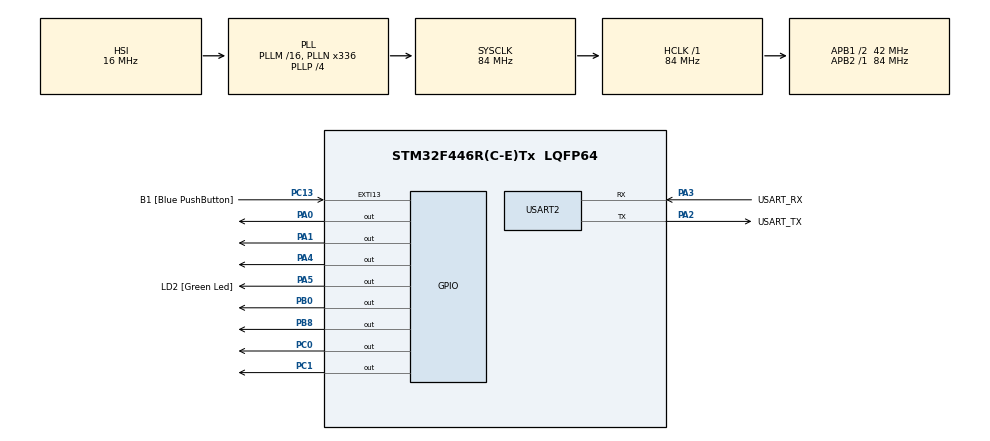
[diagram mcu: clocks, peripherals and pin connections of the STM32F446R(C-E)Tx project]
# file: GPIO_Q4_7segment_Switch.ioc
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Mcu.Family=STM32F4
Mcu.Name=STM32F446R(C-E)Tx
Mcu.Package=LQFP64
NVIC.PriorityGroup=NVIC_PRIORITYGROUP_0
PA0-WKUP.Signal=GPIO_Output
PA1.Signal=GPIO_Output
PA13.GPIO_Label=TMS
PA13.Mode=Serial_Wire
PA13.Signal=SYS_JTMS-SWDIO
PA14.GPIO_Label=TCK
PA14.Mode=Serial_Wire
PA14.Signal=SYS_JTCK-SWCLK
PA2.GPIO_Label=USART_TX
PA2.Mode=Asynchronous
PA2.Signal=USART2_TX
PA3.GPIO_Label=USART_RX
PA3.Mode=Asynchronous
PA3.Signal=USART2_RX
PA4.Signal=GPIO_Output
PA5.GPIO_Label=LD2 [Green Led]
PA5.Signal=GPIO_Output
PB0.Signal=GPIO_Output
PB3.GPIO_Label=SWO
PB3.Signal=SYS_JTDO-SWO
PB8.Signal=GPIO_Output
PC0.Signal=GPIO_Output
PC1.Signal=GPIO_Output
PC13.GPIO_Label=B1 [Blue PushButton]
PC13.GPIO_ModeDefaultEXTI=GPIO_MODE_IT_FALLING
PC13.Signal=GPXTI13
PC14-OSC32_IN.Mode=LSE-External-Oscillator
PC14-OSC32_IN.Signal=RCC_OSC32_IN
PC15-OSC32_OUT.Mode=LSE-External-Oscillator
PC15-OSC32_OUT.Signal=RCC_OSC32_OUT
PH0-OSC_IN.Mode=HSE-External-Oscillator
PH0-OSC_IN.Signal=RCC_OSC_IN
PH1-OSC_OUT.Mode=HSE-External-Oscillator
PH1-OSC_OUT.Signal=RCC_OSC_OUT
ProjectManager.HeapSize=0x200
ProjectManager.StackSize=0x400
ProjectManager.TargetToolchain=STM32CubeIDE
RCC.48MHZClocksFreq_Value=84000000
RCC.AHBFreq_Value=84000000
RCC.APB1CLKDivider=RCC_HCLK_DIV2
RCC.APB1Freq_Value=42000000
RCC.APB1TimFreq_Value=84000000
RCC.APB2Freq_Value=84000000
RCC.APB2TimFreq_Value=84000000
RCC.CortexFreq_Value=84000000
RCC.FLatency-AdvancedSettings=FLASH_LATENCY_2
RCC.HCLKFreq_Value=84000000
RCC.HSE_VALUE=8000000
RCC.HSI_VALUE=16000000
RCC.PLLN=336
RCC.PLLP=RCC_PLLP_DIV4
RCC.SYSCLKFreq_VALUE=84000000
RCC.SYSCLKSource=RCC_SYSCLKSOURCE_PLLCLK
RCC.USBFreq_Value=168000000
RCC.VCOOutputFreq_Value=336000000
USART2.VirtualMode=VM_ASYNC
board=NUCLEO-F446RE

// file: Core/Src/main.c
/*
 * Application : Diplay from 0 to 9 in 7 segment Display through internal switch
 * Step 1:Press switch 1st time and the display should show 0 to 9
 * Step 2:Press switch 2nd time and the display should show 9 to 0
 * Step 3: If the Switch is not pressed then it should not show anything
 * Author : Deepak
 * Date : 15/04/23

 */
/* USER CODE END Header */
#include "main.h"

/* USER CODE BEGIN Includes */
void display0(){
	          HAL_GPIO_WritePin(GPIOA,GPIO_PIN_0,0);
	          HAL_GPIO_WritePin(GPIOA,GPIO_PIN_1,0);
			  HAL_GPIO_WritePin(GPIOA,GPIO_PIN_4,0);
			  HAL_GPIO_WritePin(GPIOB,GPIO_PIN_0,0);
			  HAL_GPIO_WritePin(GPIOC,GPIO_PIN_0,0);
			  HAL_GPIO_WritePin(GPIOC,GPIO_PIN_1,0);
	HAL_GPIO_WritePin(GPIOB,GPIO_PIN_8,1);
}

void display1(){

      HAL_GPIO_WritePin(GPIOA,GPIO_PIN_1,0);
	  HAL_GPIO_WritePin(GPIOA,GPIO_PIN_4,0);

	HAL_GPIO_WritePin(GPIOA,GPIO_PIN_0,1);
	HAL_GPIO_WritePin(GPIOC,GPIO_PIN_0,1);
	HAL_GPIO_WritePin(GPIOB,GPIO_PIN_8,1);
	HAL_GPIO_WritePin(GPIOC,GPIO_PIN_1,1);
	HAL_GPIO_WritePin(GPIOB,GPIO_PIN_0,1);
}

void display2(){
    HAL_GPIO_WritePin(GPIOA,GPIO_PIN_0,0);
    HAL_GPIO_WritePin(GPIOA,GPIO_PIN_1,0);
	  HAL_GPIO_WritePin(GPIOB,GPIO_PIN_0,0);
	  HAL_GPIO_WritePin(GPIOB,GPIO_PIN_8,0);
	  HAL_GPIO_WritePin(GPIOC,GPIO_PIN_1,0);

	HAL_GPIO_WritePin(GPIOC,GPIO_PIN_0,1);
	HAL_GPIO_WritePin(GPIOA,GPIO_PIN_4,1);
}

void display3(){
    HAL_GPIO_WritePin(GPIOA,GPIO_PIN_0,0);
    HAL_GPIO_WritePin(GPIOA,GPIO_PIN_1,0);
	  HAL_GPIO_WritePin(GPIOA,GPIO_PIN_4,0);
	  HAL_GPIO_WritePin(GPIOB,GPIO_PIN_0,0);
	  HAL_GPIO_WritePin(GPIOB,GPIO_PIN_8,0);

	HAL_GPIO_WritePin(GPIOC,GPIO_PIN_0,1);
	HAL_GPIO_WritePin(GPIOC,GPIO_PIN_1,1);
}

void display4(){

      HAL_GPIO_WritePin(GPIOA,GPIO_PIN_1,0);
	  HAL_GPIO_WritePin(GPIOA,GPIO_PIN_4,0);
	  HAL_GPIO_WritePin(GPIOB,GPIO_PIN_8,0);
	  HAL_GPIO_WritePin(GPIOC,GPIO_PIN_0,0);

	 HAL_GPIO_WritePin(GPIOA,GPIO_PIN_0,1);
	 HAL_GPIO_WritePin(GPIOC,GPIO_PIN_1,1);
	 HAL_GPIO_WritePin(GPIOB,GPIO_PIN_0,1);
}

void display5(){
    HAL_GPIO_WritePin(GPIOA,GPIO_PIN_0,0);
	  HAL_GPIO_WritePin(GPIOA,GPIO_PIN_4,0);
	  HAL_GPIO_WritePin(GPIOB,GPIO_PIN_0,0);
	  HAL_GPIO_WritePin(GPIOB,GPIO_PIN_8,0);
	  HAL_GPIO_WritePin(GPIOC,GPIO_PIN_0,0);

	HAL_GPIO_WritePin(GPIOA,GPIO_PIN_1,1);
	HAL_GPIO_WritePin(GPIOC,GPIO_PIN_1,1);
}

void display6(){
    HAL_GPIO_WritePin(GPIOA,GPIO_PIN_0,0);
	  HAL_GPIO_WritePin(GPIOA,GPIO_PIN_4,0);
	  HAL_GPIO_WritePin(GPIOB,GPIO_PIN_0,0);
	  HAL_GPIO_WritePin(GPIOB,GPIO_PIN_8,0);
	  HAL_GPIO_WritePin(GPIOC,GPIO_PIN_0,0);
	  HAL_GPIO_WritePin(GPIOC,GPIO_PIN_1,0);

	HAL_GPIO_WritePin(GPIOA,GPIO_PIN_1,1);
}

void display7(){
    HAL_GPIO_WritePin(GPIOA,GPIO_PIN_0,0);
    HAL_GPIO_WritePin(GPIOA,GPIO_PIN_1,0);
	  HAL_GPIO_WritePin(GPIOA,GPIO_PIN_4,0);

	HAL_GPIO_WritePin(GPIOC,GPIO_PIN_0,1);
	HAL_GPIO_WritePin(GPIOB,GPIO_PIN_8,1);
	HAL_GPIO_WritePin(GPIOC,GPIO_PIN_1,1);
	HAL_GPIO_WritePin(GPIOB,GPIO_PIN_0,1);
}

void display8(){
    HAL_GPIO_WritePin(GPIOA,GPIO_PIN_0,0);
    HAL_GPIO_WritePin(GPIOA,GPIO_PIN_1,0);
	  HAL_GPIO_WritePin(GPIOA,GPIO_PIN_4,0);
	  HAL_GPIO_WritePin(GPIOB,GPIO_PIN_0,0);
	  HAL_GPIO_WritePin(GPIOB,GPIO_PIN_8,0);
	  HAL_GPIO_WritePin(GPIOC,GPIO_PIN_0,0);
	  HAL_GPIO_WritePin(GPIOC,GPIO_PIN_1,0);

}

void display9(){
      HAL_GPIO_WritePin(GPIOA,GPIO_PIN_0,0);
      HAL_GPIO_WritePin(GPIOA,GPIO_PIN_1,0);
	  HAL_GPIO_WritePin(GPIOA,GPIO_PIN_4,0);
	  HAL_GPIO_WritePin(GPIOB,GPIO_PIN_8,0);
	  HAL_GPIO_WritePin(GPIOC,GPIO_PIN_0,0);

	HAL_GPIO_WritePin(GPIOC,GPIO_PIN_1,1);
	HAL_GPIO_WritePin(GPIOB,GPIO_PIN_0,1);

}

void display_init(){
	      HAL_GPIO_WritePin(GPIOA,GPIO_PIN_0,1);
		  HAL_GPIO_WritePin(GPIOA,GPIO_PIN_4,1);
		  HAL_GPIO_WritePin(GPIOB,GPIO_PIN_0,1);
		  HAL_GPIO_WritePin(GPIOB,GPIO_PIN_8,1);
		  HAL_GPIO_WritePin(GPIOC,GPIO_PIN_0,1);
		  HAL_GPIO_WritePin(GPIOC,GPIO_PIN_1,1);
          HAL_GPIO_WritePin(GPIOA,GPIO_PIN_1,1);
}

/* USER CODE END Includes */

UART_HandleTypeDef huart2;

void SystemClock_Config(void);
static void MX_GPIO_Init(void);
static void MX_USART2_UART_Init(void);

int main(void)
{

  /* MCU Configuration--------------------------------------------------------*/

  /* Reset of all peripherals, Initializes the Flash interface and the Systick. */
  HAL_Init();

  /* Configure the system clock */
  SystemClock_Config();

  /* Initialize all configured peripherals */
  MX_GPIO_Init();
  MX_USART2_UART_Init();

  /* Infinite loop */
  /* USER CODE BEGIN WHILE */
  while (1)
  {
	  static int count=0;
		if((HAL_GPIO_ReadPin(GPIOC,GPIO_PIN_13))==0){
			count++;

			if(count==1){
	      display0();
	  	  HAL_Delay(1000);
	  	  display1();
	  	  HAL_Delay(1000);
	  	  display2();
	  	  HAL_Delay(1000);
	  	  display3();
	  	  HAL_Delay(1000);
	  	  display4();
	  	  HAL_Delay(1000);
	  	  display5();
	  	  HAL_Delay(1000);
	  	  display6();
	  	  HAL_Delay(1000);
	  	  display7();
	  	  HAL_Delay(1000);
	  	  display8();
	  	  HAL_Delay(1000);
	  	  display9();
	  	  HAL_Delay(1000);
		 }

	          if(count==2){
		      display9();
		  	  HAL_Delay(1000);
		  	  display8();
		  	  HAL_Delay(1000);
		  	  display7();
		  	  HAL_Delay(1000);
		  	  display6();
		  	  HAL_Delay(1000);
		  	  display5();
		  	  HAL_Delay(1000);
		  	  display4();
		  	  HAL_Delay(1000);
		  	  display3();
		  	  HAL_Delay(1000);
		  	  display2();
		  	  HAL_Delay(1000);
		  	  display1();
		  	  HAL_Delay(1000);
		  	  display0();
		  	  HAL_Delay(1000);
			 }

	  }
		else display_init();

    /* USER CODE END WHILE */

  }
}

void SystemClock_Config(void)
{
  RCC_OscInitTypeDef RCC_OscInitStruct = {0};
  RCC_ClkInitTypeDef RCC_ClkInitStruct = {0};

  /** Configure the main internal regulator output voltage
  */
  __HAL_RCC_PWR_CLK_ENABLE();
  __HAL_PWR_VOLTAGESCALING_CONFIG(PWR_REGULATOR_VOLTAGE_SCALE3);

  /** Initializes the RCC Oscillators according to the specified parameters
  * in the RCC_OscInitTypeDef structure.
  */
  RCC_OscInitStruct.OscillatorType = RCC_OSCILLATORTYPE_HSI;
  RCC_OscInitStruct.HSIState = RCC_HSI_ON;
  RCC_OscInitStruct.HSICalibrationValue = RCC_HSICALIBRATION_DEFAULT;
  RCC_OscInitStruct.PLL.PLLState = RCC_PLL_ON;
  RCC_OscInitStruct.PLL.PLLSource = RCC_PLLSOURCE_HSI;
  RCC_OscInitStruct.PLL.PLLM = 16;
  RCC_OscInitStruct.PLL.PLLN = 336;
  RCC_OscInitStruct.PLL.PLLP = RCC_PLLP_DIV4;
  RCC_OscInitStruct.PLL.PLLQ = 2;
  RCC_OscInitStruct.PLL.PLLR = 2;
  if (HAL_RCC_OscConfig(&RCC_OscInitStruct) != HAL_OK)
  {
    Error_Handler();
  }

  /** Initializes the CPU, AHB and APB buses clocks
  */
  RCC_ClkInitStruct.ClockType = RCC_CLOCKTYPE_HCLK|RCC_CLOCKTYPE_SYSCLK
                              |RCC_CLOCKTYPE_PCLK1|RCC_CLOCKTYPE_PCLK2;
  RCC_ClkInitStruct.SYSCLKSource = RCC_SYSCLKSOURCE_PLLCLK;
  RCC_ClkInitStruct.AHBCLKDivider = RCC_SYSCLK_DIV1;
  RCC_ClkInitStruct.APB1CLKDivider = RCC_HCLK_DIV2;
  RCC_ClkInitStruct.APB2CLKDivider = RCC_HCLK_DIV1;

  if (HAL_RCC_ClockConfig(&RCC_ClkInitStruct, FLASH_LATENCY_2) != HAL_OK)
  {
    Error_Handler();
  }
}

static void MX_USART2_UART_Init(void)
{

  huart2.Instance = USART2;
  huart2.Init.BaudRate = 115200;
  huart2.Init.WordLength = UART_WORDLENGTH_8B;
  huart2.Init.StopBits = UART_STOPBITS_1;
  huart2.Init.Parity = UART_PARITY_NONE;
  huart2.Init.Mode = UART_MODE_TX_RX;
  huart2.Init.HwFlowCtl = UART_HWCONTROL_NONE;
  huart2.Init.OverSampling = UART_OVERSAMPLING_16;
  if (HAL_UART_Init(&huart2) != HAL_OK)
  {
    Error_Handler();
  }

}

static void MX_GPIO_Init(void)
{
  GPIO_InitTypeDef GPIO_InitStruct = {0};

  /* GPIO Ports Clock Enable */
  __HAL_RCC_GPIOC_CLK_ENABLE();
  __HAL_RCC_GPIOH_CLK_ENABLE();
  __HAL_RCC_GPIOA_CLK_ENABLE();
  __HAL_RCC_GPIOB_CLK_ENABLE();

  /*Configure GPIO pin Output Level */
  HAL_GPIO_WritePin(GPIOC, GPIO_PIN_0|GPIO_PIN_1, GPIO_PIN_RESET);

  /*Configure GPIO pin Output Level */
  HAL_GPIO_WritePin(GPIOA, GPIO_PIN_0|GPIO_PIN_1|GPIO_PIN_4|LD2_Pin, GPIO_PIN_RESET);

  /*Configure GPIO pin Output Level */
  HAL_GPIO_WritePin(GPIOB, GPIO_PIN_0|GPIO_PIN_8, GPIO_PIN_RESET);

  /*Configure GPIO pin : B1_Pin */
  GPIO_InitStruct.Pin = B1_Pin;
  GPIO_InitStruct.Mode = GPIO_MODE_IT_FALLING;
  GPIO_InitStruct.Pull = GPIO_NOPULL;
  HAL_GPIO_Init(B1_GPIO_Port, &GPIO_InitStruct);

  /*Configure GPIO pins : PC0 PC1 */
  GPIO_InitStruct.Pin = GPIO_PIN_0|GPIO_PIN_1;
  GPIO_InitStruct.Mode = GPIO_MODE_OUTPUT_PP;
  GPIO_InitStruct.Pull = GPIO_NOPULL;
  GPIO_InitStruct.Speed = GPIO_SPEED_FREQ_LOW;
  HAL_GPIO_Init(GPIOC, &GPIO_InitStruct);

  /*Configure GPIO pins : PA0 PA1 PA4 LD2_Pin */
  GPIO_InitStruct.Pin = GPIO_PIN_0|GPIO_PIN_1|GPIO_PIN_4|LD2_Pin;
  GPIO_InitStruct.Mode = GPIO_MODE_OUTPUT_PP;
  GPIO_InitStruct.Pull = GPIO_NOPULL;
  GPIO_InitStruct.Speed = GPIO_SPEED_FREQ_LOW;
  HAL_GPIO_Init(GPIOA, &GPIO_InitStruct);

  /*Configure GPIO pins : PB0 PB8 */
  GPIO_InitStruct.Pin = GPIO_PIN_0|GPIO_PIN_8;
  GPIO_InitStruct.Mode = GPIO_MODE_OUTPUT_PP;
  GPIO_InitStruct.Pull = GPIO_NOPULL;
  GPIO_InitStruct.Speed = GPIO_SPEED_FREQ_LOW;
  HAL_GPIO_Init(GPIOB, &GPIO_InitStruct);

}

void Error_Handler(void)
{
  __disable_irq();
  while (1)
  {
  }
}
